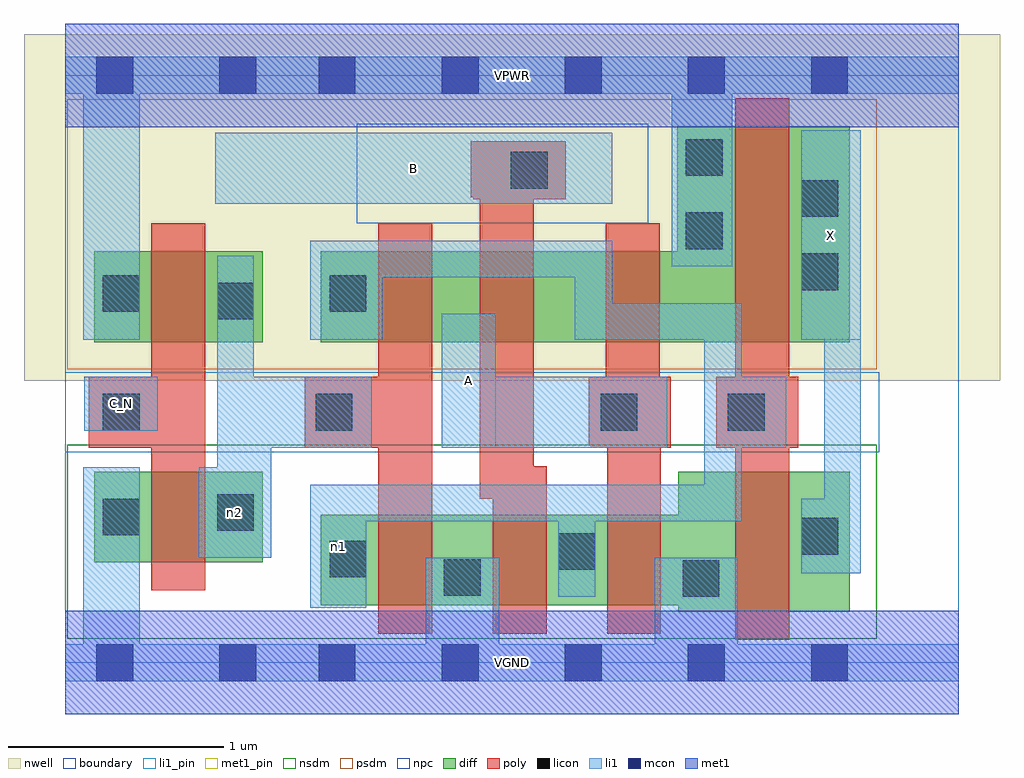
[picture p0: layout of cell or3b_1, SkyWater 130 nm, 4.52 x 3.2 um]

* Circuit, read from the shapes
.subckt or3b_1 A B C_N VGND VPWR X n1 n2
XM1 n2 C_N VGND VSUBS sky130_fd_pr__nfet_01v8 w=0.42 l=0.25
XM2 VGND n2 n1 VSUBS sky130_fd_pr__nfet_01v8 w=0.42 l=0.25
XM3 n1 B VGND VSUBS sky130_fd_pr__nfet_01v8 w=0.42 l=0.25
XM4 VGND A n1 VSUBS sky130_fd_pr__nfet_01v8 w=0.42 l=0.25
XM5 X n1 VGND VSUBS sky130_fd_pr__nfet_01v8 w=0.65 l=0.25
XM6 n2 C_N VPWR n3 sky130_fd_pr__pfet_01v8 w=0.42 l=0.25
XM7 n4 n2 n1 n3 sky130_fd_pr__pfet_01v8 w=0.42 l=0.25
XM8 n5 B n4 n3 sky130_fd_pr__pfet_01v8 w=0.42 l=0.25
XM9 VPWR A n5 n3 sky130_fd_pr__pfet_01v8 w=0.42 l=0.25
XM10 X n1 VPWR n3 sky130_fd_pr__pfet_01v8 w=1 l=0.25
.ends

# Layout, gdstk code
import gdstk
lib = gdstk.Library(unit=1e-6, precision=1e-09)
def R(c, l, rs):  # rectangles x0, y0, x1, y1
    for r in rs: c.add(gdstk.rectangle(r[:2], r[2:], *l))
def A(c, l, x, y, w, h, nx, ny, dx, dy):  # array of equal rectangles
    R(c, l, [(x+i*dx, y+j*dy, x+i*dx+w, y+j*dy+h) for i in range(nx) for j in range(ny)])
nwell = (64, 20)
diff = (65, 20)
poly = (66, 20)
licon = (66, 44)
li1_pin = (67, 16)
li1 = (67, 20)
mcon = (67, 44)
met1_pin = (68, 16)
met1 = (68, 20)
nsdm = (93, 44)
psdm = (94, 20)
npc = (95, 20)
boundary = (235, 4)

or3b_1 = lib.new_cell('or3b_1')
R(or3b_1, nwell, [(-0.19,1.305,4.33,2.91), (0,1.305,4.14,2.91)])
R(or3b_1, diff, [(2.84,0.235,3.635,0.885), (1.185,0.265,3.635,0.685), (0.135,0.465,0.915,0.885), (0.135,1.485,0.915,1.905), (1.185,1.485,3.635,1.905), (2.835,1.485,3.635,2.485)])
R(or3b_1, poly, [(3.105,0.105,3.355,2.615), (1.45,0.135,1.7,2.035), (1.98,0.135,2.23,0.91), (2.51,0.135,2.76,1.325), (0.4,0.335,0.65,2.035), (1.92,0.76,2.17,2.415), (0.11,0.995,0.65,1.325), (1.11,0.995,1.7,1.325), (2.435,0.995,2.805,1.325), (2.505,0.995,2.755,2.035), (3.015,0.995,3.395,1.325), (2.425,1.005,2.805,1.325), (1.89,2.145,2.32,2.415), (1.88,2.155,2.32,2.415)])
R(or3b_1, licon, [(2.86,0.305,3.03,0.475), (1.755,0.31,1.925,0.48), (1.225,0.395,1.395,0.565), (2.285,0.43,2.455,0.6), (3.41,0.5,3.58,0.67), (0.175,0.59,0.345,0.76), (0.705,0.61,0.875,0.78), (0.175,1.075,0.345,1.245), (1.16,1.075,1.33,1.245), (2.48,1.075,2.65,1.245), (3.07,1.075,3.24,1.245), (0.705,1.59,0.875,1.76), (0.175,1.625,0.345,1.795), (1.225,1.625,1.395,1.795), (3.41,1.725,3.58,1.895), (2.875,1.915,3.045,2.085), (3.41,2.065,3.58,2.235), (2.065,2.195,2.235,2.365), (2.875,2.255,3.045,2.425)])
R(or3b_1, li1_pin, [(1.745,0.995,1.995,1.615), (0.09,1.075,0.43,1.325), (3.41,1.495,3.685,2.465), (0.695,2.125,2.535,2.455)])
R(or3b_1, li1, [(0,-0.085,4.14,0.085), (0.085,-0.085,0.345,0.905), (1.67,-0.085,2.01,0.485), (2.73,-0.085,3.115,0.485), (1.135,0.255,1.395,0.825), (2.285,0.305,2.455,0.825), (3.41,0.415,3.685,0.76), (3.515,0.415,3.685,2.465), (0.62,0.485,0.955,0.905), (0.705,0.485,0.875,1.885), (0.705,0.485,0.955,1.325), (1.135,0.655,3.135,0.825), (2.96,0.655,3.135,1.665), (0.705,0.995,1.42,1.325), (1.745,0.995,2.79,1.325), (1.745,0.995,1.995,1.615), (2.96,0.995,3.34,1.325), (0.09,1.075,0.43,1.325), (0.085,1.495,0.345,2.805), (1.135,1.495,1.47,1.955), (2.36,1.495,3.135,1.665), (2.36,1.495,2.535,1.955), (3.41,1.495,3.685,2.465), (1.135,1.785,2.535,1.955), (2.81,1.835,3.09,2.805), (0.695,2.125,2.535,2.455), (0,2.635,4.14,2.805)])
A(or3b_1, mcon, 1.175, -0.085, 0.17, 0.17, 5, 2, 0.57, 2.72)
R(or3b_1, mcon, [(0.145,-0.085,0.315,0.085), (0.715,-0.085,0.885,0.085), (0.145,2.635,0.315,2.805), (0.715,2.635,0.885,2.805)])
R(or3b_1, met1_pin, [(0,-0.24,4.14,0.24), (0,2.48,4.14,2.96)])
R(or3b_1, met1, [(0,-0.24,4.14,0.24), (0,2.48,4.14,2.96)])
R(or3b_1, nsdm, [(0.01,0.11,3.76,1.01)])
R(or3b_1, psdm, [(0.01,1.36,3.76,2.61)])
R(or3b_1, npc, [(0,0.975,3.77,1.345), (1.35,2.035,2.7,2.495)])
R(or3b_1, boundary, [(0,0,4.14,2.72)])
or3b_1.add(gdstk.Label('A', (1.87,1.305), layer=67, texttype=5))
or3b_1.add(gdstk.Label('B', (1.615,2.29), layer=67, texttype=5))
or3b_1.add(gdstk.Label('C_N', (0.26,1.2), layer=67, texttype=5))
or3b_1.add(gdstk.Label('X', (3.547,1.98), layer=67, texttype=5))
or3b_1.add(gdstk.Label('n2', (0.787,0.695), layer=67, texttype=5))
or3b_1.add(gdstk.Label('n1', (1.265,0.54), layer=67, texttype=5))
or3b_1.add(gdstk.Label('VPWR', (2.07,2.72), layer=68, texttype=5))
or3b_1.add(gdstk.Label('VGND', (2.07,0), layer=68, texttype=5))
or3b_1.add(gdstk.Label('A', (1.87,1.305), layer=67, texttype=16))
or3b_1.add(gdstk.Label('B', (1.615,2.29), layer=67, texttype=16))
or3b_1.add(gdstk.Label('C_N', (0.26,1.2), layer=67, texttype=16))
or3b_1.add(gdstk.Label('X', (3.547,1.98), layer=67, texttype=16))
or3b_1.add(gdstk.Label('VPWR', (2.07,2.72), layer=68, texttype=16))
or3b_1.add(gdstk.Label('VGND', (2.07,0), layer=68, texttype=16))

lib.write_gds('or3b_1.gds')
